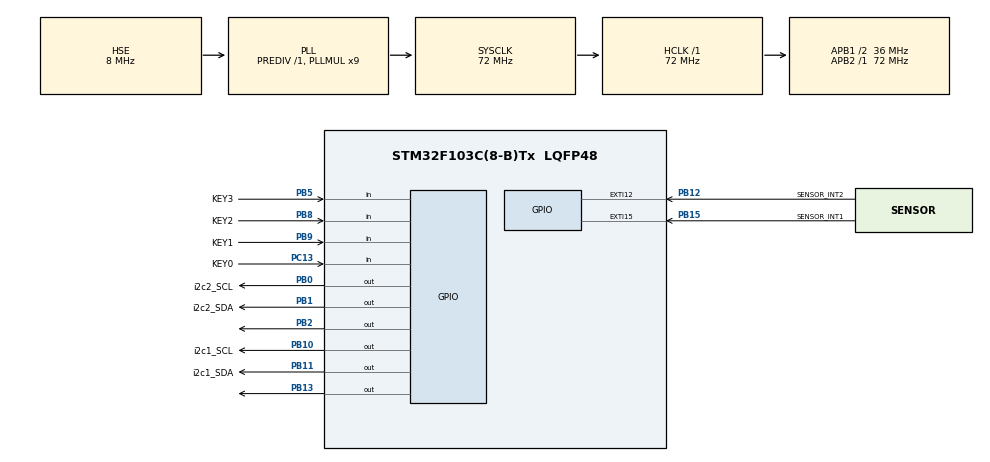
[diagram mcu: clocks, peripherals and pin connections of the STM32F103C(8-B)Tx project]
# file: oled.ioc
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Mcu.Family=STM32F1
Mcu.Name=STM32F103C(8-B)Tx
Mcu.Package=LQFP48
NVIC.EXTI15_10_IRQn=true\:0\:0\:false\:false\:true\:true\:true
NVIC.PriorityGroup=NVIC_PRIORITYGROUP_4
NVIC.TIM4_IRQn=true\:0\:0\:false\:false\:true\:true\:true
PA13.Mode=Serial_Wire
PA13.Signal=SYS_JTMS-SWDIO
PA14.Mode=Serial_Wire
PA14.Signal=SYS_JTCK-SWCLK
PB0.GPIO_Label=i2c2_SCL
PB0.GPIO_PuPd=GPIO_PULLUP
PB0.GPIO_Speed=GPIO_SPEED_FREQ_HIGH
PB0.PinState=GPIO_PIN_SET
PB0.Signal=GPIO_Output
PB1.GPIO_Label=i2c2_SDA
PB1.GPIO_PuPd=GPIO_PULLUP
PB1.GPIO_Speed=GPIO_SPEED_FREQ_HIGH
PB1.PinState=GPIO_PIN_SET
PB1.Signal=GPIO_Output
PB10.GPIO_Label=i2c1_SCL
PB10.GPIO_PuPd=GPIO_PULLUP
PB10.GPIO_Speed=GPIO_SPEED_FREQ_HIGH
PB10.PinState=GPIO_PIN_SET
PB10.Signal=GPIO_Output
PB11.GPIO_Label=i2c1_SDA
PB11.GPIO_PuPd=GPIO_PULLUP
PB11.GPIO_Speed=GPIO_SPEED_FREQ_HIGH
PB11.PinState=GPIO_PIN_SET
PB11.Signal=GPIO_Output
PB12.GPIO_Label=SENSOR_INT2
PB12.Signal=GPXTI12
PB13.GPIO_ModeDefaultOutputPP=GPIO_MODE_OUTPUT_PP
PB13.GPIO_PuPd=GPIO_PULLUP
PB13.GPIO_Speed=GPIO_SPEED_FREQ_HIGH
PB13.PinState=GPIO_PIN_SET
PB13.Signal=GPIO_Output
PB15.GPIO_Label=SENSOR_INT1
PB15.Signal=GPXTI15
PB2.GPIO_PuPd=GPIO_PULLUP
PB2.GPIO_Speed=GPIO_SPEED_FREQ_HIGH
PB2.Signal=GPIO_Output
PB5.GPIO_Label=KEY3
PB5.GPIO_PuPd=GPIO_PULLUP
PB5.Signal=GPIO_Input
PB8.GPIO_Label=KEY2
PB8.GPIO_PuPd=GPIO_PULLUP
PB8.Signal=GPIO_Input
PB9.GPIO_Label=KEY1
PB9.GPIO_PuPd=GPIO_PULLUP
PB9.Signal=GPIO_Input
PC13-TAMPER-RTC.GPIO_Label=KEY0
PC13-TAMPER-RTC.GPIO_PuPd=GPIO_PULLUP
PC13-TAMPER-RTC.Signal=GPIO_Input
PD0-OSC_IN.Mode=HSE-External-Oscillator
PD0-OSC_IN.Signal=RCC_OSC_IN
PD1-OSC_OUT.Mode=HSE-External-Oscillator
PD1-OSC_OUT.Signal=RCC_OSC_OUT
ProjectManager.HeapSize=0x200
ProjectManager.StackSize=0x400
ProjectManager.TargetToolchain=MDK-ARM V5.27
RCC.AHBFreq_Value=72000000
RCC.APB1CLKDivider=RCC_HCLK_DIV2
RCC.APB1Freq_Value=36000000
RCC.APB1TimFreq_Value=72000000
RCC.APB2Freq_Value=72000000
RCC.APB2TimFreq_Value=72000000
RCC.HCLKFreq_Value=72000000
RCC.PLLMUL=RCC_PLL_MUL9
RCC.PLLSourceVirtual=RCC_PLLSOURCE_HSE
RCC.SYSCLKFreq_VALUE=72000000
RCC.SYSCLKSource=RCC_SYSCLKSOURCE_PLLCLK
RCC.USBFreq_Value=72000000
TIM4.Period=10000-1
TIM4.Prescaler=72-1
VP_TIM4_VS_ClockSourceINT.Mode=Internal
board=custom

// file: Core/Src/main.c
/* USER CODE BEGIN Header */
/**
  ******************************************************************************
  * @file           : main.c
  * @brief          : Main program body
  ******************************************************************************
  * @attention
  *
  * <h2><center>&copy; Copyright (c) 2020 STMicroelectronics.
  * All rights reserved.</center></h2>
  *
  * This software component is licensed by ST under BSD 3-Clause license,
  * the "License"; You may not use this file except in compliance with the
  * License. You may obtain a copy of the License at:
  *                        opensource.org/licenses/BSD-3-Clause
  *
  ******************************************************************************
  */
/* USER CODE END Header */
#include "main.h"
#include "tim.h"
#include "gpio.h"

/* USER CODE BEGIN Includes */
#include "oled.h"
#include "bmp.h"
#include "simulate_i2c.h"
#include "bit_domain.h"
#include "ADXL345.h"
#include "stdlib.h"
#include "stdio.h"
#include "string.h"
#include "math.h"
#include "screen.h"
#include "timing_switch.h"
/* USER CODE END Includes */

void SystemClock_Config(void);

/* USER CODE BEGIN 0 */
uint8_t DevID = 0, buf[6], cmd = XL345_OFSX;
int32_t AveX, AveY, AveZ;
char ch[100];
double AccX, AccY;
unsigned int INCnt[2] = {0, 0};
uint32_t AccCalc;
double VelocityX = 0, VelocityY = 0;
double ElasticAttritionRato = 0.90;
char keyState = 0;
/* USER CODE END 0 */

int main(void)
{
  /* USER CODE BEGIN 1 */
  extern union BitDomain_64 VideoMem[128];
  uint32_t cnt;
  int32_t ball_x = 63, ball_y = 31, ball_r = 3, ball_degree = 4;
  uint32_t x_axle;
  uint8_t DspMode;
  /* USER CODE END 1 */

  /* MCU Configuration--------------------------------------------------------*/

  /* Reset of all peripherals, Initializes the Flash interface and the Systick. */
  HAL_Init();

  /* Configure the system clock */
  SystemClock_Config();

  /* Initialize all configured peripherals */
  MX_GPIO_Init();
  MX_TIM4_Init();
  /* USER CODE BEGIN 2 */
  SimulateI2C_Init(i2c1);
  SimulateI2C_Init(i2c2);
  OLED_Init(); //初始化OLED

  buf[0] = 0x1;
  SimulateI2C_WriteByte(i2c2, 0x31, 0x53, 1, buf); //测量范围,正负16g，13位模式
  buf[0] = 0x08;
  SimulateI2C_WriteByte(i2c2, 0x2C, 0x53, 1, buf); //速率设定为12.5 参考pdf13页
  buf[0] = 0x08;
  SimulateI2C_WriteByte(i2c2, 0x2D, 0x53, 1, buf); //选择电源模式   参考pdf24页
  buf[0] = 0x80;
  SimulateI2C_WriteByte(i2c2, 0x2E, 0x53, 1, buf); //X 偏移量 根据测试传感器的状态写入pdf29页
  buf[0] = 0x00;
  SimulateI2C_WriteByte(i2c2, 0x1E, 0x53, 1, buf); //Y 偏移量 根据测试传感器的状态写入pdf29页
  buf[0] = 0x05;
  SimulateI2C_WriteByte(i2c2, 0x20, 0x53, 1, buf); //Z 偏移量 根据测试传感器的状态写入pdf29页

  ScreenFill(0);
  RefreshScreen();
  HAL_TIM_Base_Start_IT(&htim4);
  TimingSwitchInit(10000);
  /* USER CODE END 2 */

  /* Infinite loop */
  while (1)
  {

    /* USER CODE BEGIN 3 */
    SwitchTimingStart(1, 100000);
    if (SwitchON == SwitchGetOut(1))
    {
      SwitchTimingStop(1);

      keyState |= (GPIO_PIN_RESET == HAL_GPIO_ReadPin(KEY0_GPIO_Port, KEY0_Pin) ? (0x01 << 0) : 0x00);

      keyState |= (GPIO_PIN_RESET == HAL_GPIO_ReadPin(KEY1_GPIO_Port, KEY1_Pin) ? (0x01 << 1) : 0x00);

      keyState |= (GPIO_PIN_RESET == HAL_GPIO_ReadPin(KEY2_GPIO_Port, KEY2_Pin) ? (0x01 << 2) : 0x00);

      keyState |= (GPIO_PIN_RESET == HAL_GPIO_ReadPin(KEY3_GPIO_Port, KEY3_Pin) ? (0x01 << 3) : 0x00);
    }
    if (0 != (keyState & 0x01))
    {
      keyState &= ~(0x01 << 0);
      if (DspMode != 0)
      {
        ScreenFill(0);
        DspMode = 0;
      }
    }
    else if (0 != (keyState & 0x02))
    {
      keyState &= ~(0x01 << 1);
      if (DspMode != 1)
      {
        ScreenFill(0);
        DspMode = 1;
        x_axle = 0;
      }
    }
    else if (0 != (keyState & 0x04))
    {
      keyState &= ~(0x01 << 2);
      if (DspMode != 2)
      {
        ScreenFill(0);
        DspMode = 2;
      }
    }
    if (0 == DspMode)
    {
      ScreenFill(0);
      RefreshScreen();
    }
    SwitchTimingStart(2, 100000);
    if (SwitchON == SwitchGetOut(2))
    {
      SwitchTimingStop(2);

      if (1 == DspMode)
      {
        if (x_axle++ >= 127)
        {
          x_axle = 0;
          //				ScreenFill(0);
        }

        SimulateI2C_ReadByte(i2c2, 0x32, 0x53, 6, buf);

        ScreenDrawLine(x_axle, 20, x_axle, 1, 1, ScreenReverse);
        ScreenDrawLine(x_axle, 10, x_axle, 10 - (((short)(buf[1] << 8) + buf[0]) * 20) / 512, 2, ScreenNoReverse);

        ScreenDrawLine(x_axle, 41, x_axle, 22, 1, ScreenReverse);
        ScreenDrawLine(x_axle, 31, x_axle, 31 - (((short)+(buf[3] << 8) + buf[2]) * 20) / 512, 2, ScreenNoReverse);

        ScreenDrawLine(x_axle, 62, x_axle, 43, 1, ScreenReverse);
        ScreenDrawLine(x_axle, 52, x_axle, 52 - (((short)+(buf[5] << 8) + buf[4]) * 20) / 512, 2, ScreenNoReverse);
        RefreshScreen();
      }
    }
    if (2 == DspMode)
    {
      AveX = 0;
      AveY = 0;
      AveZ = 0;
      for (cnt = 0; cnt < 50; cnt++)
      {
        SimulateI2C_ReadByte(i2c2, 0x32, 0x53, 6, buf);
        AveX += ((short)(buf[1] << 8) + buf[0]);
        AveY += ((short)(buf[3] << 8) + buf[2]);
        AveZ += ((short)(buf[5] << 8) + buf[4]);
      }
      AveX = AveX / 50;
      AveY = AveY / 50;
      AveZ = AveZ / 50;

      // s = a*t^2
      if ((HAL_GetTick() - AccCalc) >= (50 + (uint32_t)(uwTickFreq)))
      {
        AccCalc = HAL_GetTick();

        ScreenFill(0);
        ScreenDrawCircule(63, 31, 10, 2, ScreenNoReverse);
        ScreenDrawLine(0, 31, 127, 31, 2, ScreenReverse);
        ScreenDrawLine(63, 0, 63, 64, 2, ScreenReverse);
        ScreenDrawCircule(ball_x + 63, ball_y + 31, ball_r, ball_degree, ScreenNoReverse);
        RefreshScreen();

        if (0 == AveZ)
        {
          AccX = AveX * cos(atan(AveX / AveZ));
          AccY = AveY * cos(atan(AveY / AveZ));
        }
        else
        {
          AccX = AveX;
          AccY = AveY;
        }

        VelocityX -= ((AccX * 9.8) / 256) * 0.05;
        VelocityY -= ((AccY * 9.8) / 256) * 0.05;

        ball_x += (VelocityX * 500) * 0.05;
        ball_y -= (VelocityY * 500) * 0.05;

        if (ball_x > 64 - ball_r - ball_degree)
        {
          ball_x = 64 - ball_r - ball_degree;
          VelocityX = VelocityX * ElasticAttritionRato * -1;
        }
        else if (ball_x < -64 + ball_r + 1)
        {
          ball_x = -64 + ball_r + 1;
          VelocityX = VelocityX * ElasticAttritionRato * -1;
        }

        if (ball_y < -32 + ball_r + 1)
        {
          ball_y = -32 + ball_r + 1;
          VelocityY = VelocityY * ElasticAttritionRato * -1;
        }
        else if (ball_y > 32 - ball_r - ball_degree)
        {
          ball_y = 32 - ball_r - ball_degree;
          VelocityY = VelocityY * ElasticAttritionRato * -1;
        }
      }
    }
  }
  /* USER CODE END 3 */
}

void SystemClock_Config(void)
{
  RCC_OscInitTypeDef RCC_OscInitStruct = {0};
  RCC_ClkInitTypeDef RCC_ClkInitStruct = {0};

  /** Initializes the RCC Oscillators according to the specified parameters
  * in the RCC_OscInitTypeDef structure.
  */
  RCC_OscInitStruct.OscillatorType = RCC_OSCILLATORTYPE_HSE;
  RCC_OscInitStruct.HSEState = RCC_HSE_ON;
  RCC_OscInitStruct.HSEPredivValue = RCC_HSE_PREDIV_DIV1;
  RCC_OscInitStruct.HSIState = RCC_HSI_ON;
  RCC_OscInitStruct.PLL.PLLState = RCC_PLL_ON;
  RCC_OscInitStruct.PLL.PLLSource = RCC_PLLSOURCE_HSE;
  RCC_OscInitStruct.PLL.PLLMUL = RCC_PLL_MUL9;
  if (HAL_RCC_OscConfig(&RCC_OscInitStruct) != HAL_OK)
  {
    Error_Handler();
  }
  /** Initializes the CPU, AHB and APB buses clocks
  */
  RCC_ClkInitStruct.ClockType = RCC_CLOCKTYPE_HCLK | RCC_CLOCKTYPE_SYSCLK | RCC_CLOCKTYPE_PCLK1 | RCC_CLOCKTYPE_PCLK2;
  RCC_ClkInitStruct.SYSCLKSource = RCC_SYSCLKSOURCE_PLLCLK;
  RCC_ClkInitStruct.AHBCLKDivider = RCC_SYSCLK_DIV1;
  RCC_ClkInitStruct.APB1CLKDivider = RCC_HCLK_DIV2;
  RCC_ClkInitStruct.APB2CLKDivider = RCC_HCLK_DIV1;

  if (HAL_RCC_ClockConfig(&RCC_ClkInitStruct, FLASH_LATENCY_2) != HAL_OK)
  {
    Error_Handler();
  }
}

void Error_Handler(void)
{
}

/************************ (C) COPYRIGHT STMicroelectronics *****END OF FILE****/
